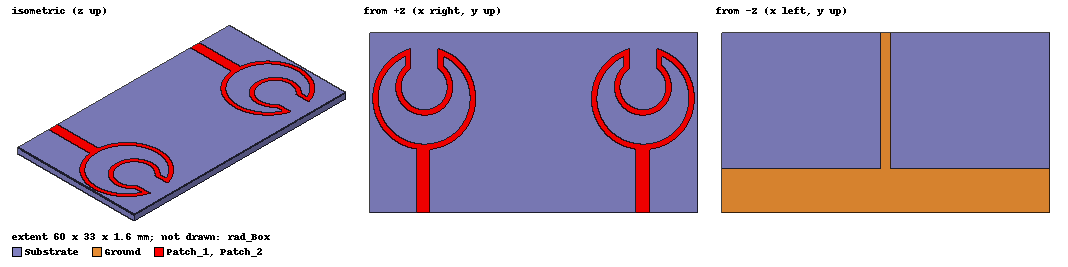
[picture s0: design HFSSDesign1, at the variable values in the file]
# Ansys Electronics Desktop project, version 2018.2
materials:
  vacuum: permittivity=1
  FR4_epoxy: permittivity=4.4 dielectric_loss_tangent=0.02

design HFSSDesign1 (HFSS, DrivenModal, model units mm)
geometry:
  Substrate [FR4_epoxy] = box(corner=(-15mm, -23mm, 0mm), size=(60mm, 33mm, 1.6mm))
  Ground = rectangle(corner=(-15mm, -23mm, 0mm), x_size=60mm, y_size=8mm)
  Feed_1 = rectangle(corner=(-1.455mm, -23mm, 1.6mm), x_size=2.5mm, y_size=11.655mm)
  Circle1 = circle(normal=Z, centre=(0mm, 5.65mm, 1.6mm), radius=12mm)
  Circle2 = circle(normal=Z, centre=(0mm, 8.65mm, 1.6mm), radius=6mm)
  Rectangle2 = rectangle(corner=(-3.5mm, 13.5mm, 1.6mm), x_size=7mm, y_size=5.6mm)
  Patch_1 = circle(normal=Z, centre=(0mm, 5.65mm, 1.6mm), radius=13.45mm)
  Circle4 = circle(normal=Z, centre=(0mm, 8.65mm, 1.6mm), radius=7.45mm)
  Patch_1.subtract(Circle1)
  Rectangle3 = rectangle(corner=(-3.5mm, 13.5mm, 1.6mm), x_size=-1.45mm, y_size=4.5mm)
  Rectangle4 = rectangle(corner=(3.5mm, 13.5mm, 1.6mm), x_size=1.45mm, y_size=4.5mm)
  Patch_1.unite(Circle4, Rectangle4, Rectangle3)
  Patch_1.subtract(Rectangle2)
  Patch_1.subtract(Circle2)
  Port_1 = rectangle(corner=(-1.455mm, -23mm, 1.6mm), z_size=-1.6mm, x_size=2.5mm)
  rad_Box [vacuum] = box(corner=(-35mm, -40mm, -19.2mm), size=(100mm, 67mm, 40mm))
  Patch_2 = circle(normal=Z, centre=(0mm, 5.65mm, 1.6mm), radius=13.45mm)
  Circle5 = circle(normal=Z, centre=(0mm, 5.65mm, 1.6mm), radius=12mm)
  Patch_2.subtract(Circle5)
  Circle7 = circle(normal=Z, centre=(0mm, 8.65mm, 1.6mm), radius=7.45mm)
  Rectangle7 = rectangle(corner=(3.5mm, 13.5mm, 1.6mm), x_size=1.45mm, y_size=4.5mm)
  Rectangle6 = rectangle(corner=(-3.5mm, 13.5mm, 1.6mm), x_size=-1.45mm, y_size=4.5mm)
  Patch_2.unite(Circle7, Rectangle7, Rectangle6)
  Rectangle5 = rectangle(corner=(-3.5mm, 13.5mm, 1.6mm), x_size=7mm, y_size=5.6mm)
  Patch_2.subtract(Rectangle5)
  Circle6 = circle(normal=Z, centre=(0mm, 8.65mm, 1.6mm), radius=6mm)
  Patch_2.subtract(Circle6)
  Feed_2 = rectangle(corner=(-1.455mm, -23mm, 1.6mm), x_size=2.5mm, y_size=11.655mm)
  Patch_2.move(30mm, 0mm, 0mm)
  Port_2 = rectangle(corner=(28.545mm, -23mm, 1.6mm), z_size=-1.6mm, x_size=2.5mm)
  [Patch_1, Patch_2].scale(0.7, 0.7, 1)
  Port_1.move(-5mm, 0mm, 2.220446e-16mm)
  VStrip = rectangle(corner=(14mm, 10mm, 0mm), x_size=2mm, y_size=-33mm)
  Ground.unite(VStrip)
  Feed_1.move(-5mm, 0mm, 0mm)
  Patch_1.move(-5mm, -6mm, 0mm)
  Patch_2.move(14mm, -6mm, 0mm)
  Patch_1.unite(Feed_1)
  Feed_2.move(35.2mm, 0mm, 0mm)
  Patch_2.unite(Feed_2)
  Port_2.move(5.2mm, 0mm, 0mm)
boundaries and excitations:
  PerfE1: Perfect E Objects=Patch_1
  PerfE2: Perfect E Objects=Ground
  Rad1: Radiation Objects=rad_Box
  PerfE3: Perfect E Objects=Patch_2
  1: Lumped Port Objects=Port_1 Modes{Mode1{IntLine{middle of Port_1.edge(z opposite corner) -> Port_1.edge(z at corner) at 0.534 along} CharImp=Zpi RenormImp=50ohm}} Impedance=50ohm
  2: Lumped Port Objects=Port_2 Modes{Mode1{IntLine{middle of Port_2.edge(z opposite corner) -> middle of Port_2.edge(z at corner)} CharImp=Zpi RenormImp=50ohm}} Impedance=50ohm
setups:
  Setup1: HfssDriven AdaptMultipleFreqs MultipleAdaptiveFreqsSetup{0.25GHz(0.02) 0.5GHz(0.02) 0.75GHz(0.02) 1GHz(0.02) 1.25GHz(0.02) 1.5GHz(0.02) 1.75GHz(0.02) 2GHz(0.02) 2.25GHz(0.02) 2.5GHz(0.02) 2.75GHz(0.02) 3GHz(0.02) 3.25GHz(0.02) 3.5GHz(0.02) 3.75GHz(0.02) 4GHz(0.02) 4.25GHz(0.02) 4.5GHz(0.02) 4.75GHz(0.02) 5GHz(0.02) 5.25GHz(0.02) 5.5GHz(0.02) 5.75GHz(0.02) 6GHz(0.02)} MaximumPasses=6 MinimumPasses=1 MinimumConvergedPasses=1 PercentRefinement=30 BasisOrder=1 PortAccuracy=2
    sweep Sweep: 1GHz to 7GHz, 100 points; Type=Interpolating InterpTolerance=0.5 InterpMaxSolns=250 InterpUsePortImped=false PassivityErrorTolerance=0.0001
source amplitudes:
  1:1: 1W 0deg
  2:1: 0W 0deg
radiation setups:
  Infinite Sphere1: Infinite Sphere Theta=-180deg..180deg step 2deg Phi=0deg..360deg step 2deg
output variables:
  ECC = (mag(S(1,1)*S(1,2) + S(2,1)*S(2,2)))^2 / ((1 - mag(S(1,1))^2 - mag(S(2,1))^2) * (1 - mag(S(2,2))^2 - mag(S(1,2))^2))
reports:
  S Parameter Plot 1: dB(S(1,1)), dB(S(2,1)) vs Freq on Setup1 : Sweep
  Radiation Pattern H-Plane: dB(GainTotal) vs Theta on Setup1 : LastAdaptive, Infinite Sphere1 [Phi=90deg Freq=6GHz]
  Radiation Pattern E-Plane: dB(GainTotal) vs Theta on Setup1 : LastAdaptive, Infinite Sphere1 [Phi=0deg Freq=6GHz]
  Gain Plot 1: GainTotal vs Phi, Theta on Setup1 : LastAdaptive, Infinite Sphere1 [Freq=6GHz]
  VSWR Plot 1: VSWR(1), VSWR(2) vs Freq on Setup1 : Sweep; markers m1 at 4.2121212GHz
  Output Variables Plot 1: ECC vs Freq on Setup1 : Sweep; markers m1 at 4.2121212GHz
  S Parameter Plot 2: dB(S(1,1)) vs Freq on Setup1 : Sweep
